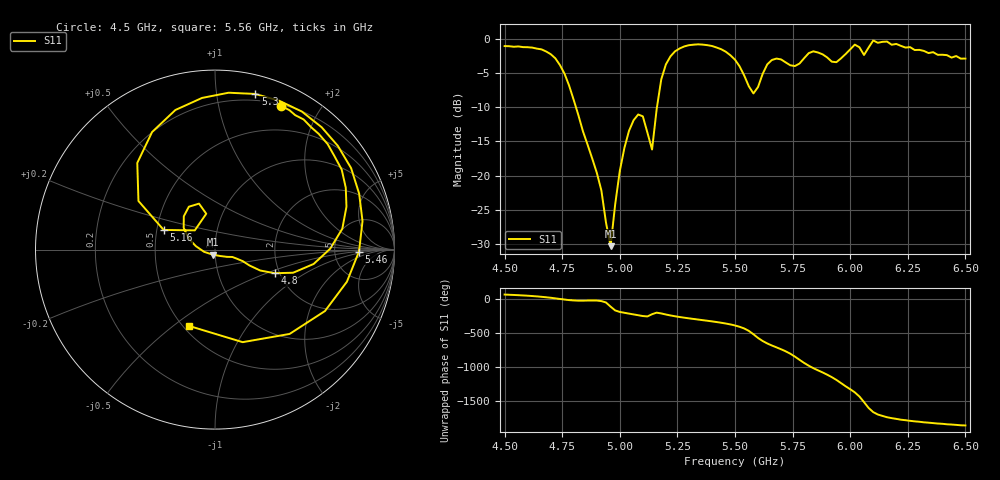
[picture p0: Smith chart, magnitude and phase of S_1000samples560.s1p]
! TOUCHSTONE file generated by CST MICROWAVE STUDIO
! Date and time: Fri Oct 28 14:39:35 2022
! Project name: L.cst
! Parameters = {Di=1.27; Epsilon_r=1.56; InnerDiameter=1.27; Length=2; Lf=10; Lg=60; OuterConductorThickness=0.2921; OuterDiameter=3.6; Wf=3; Wp=41.2; de=1.5; df=6.8; g=0.8; gx=4.50755; gy=0.574125; h=2.34; hf=1.524; px=12.2241; py=13.9523; w=9.7; wx=7.71658; wy=13.3782}
! Header version: 2018
! Port assignment regex: !\s*Touchstone port\s*([0-9]+)\s*=\s*(CST MWS port|CST DS port)\s*([0-9]+|Zmin|Zmax)\s*\(\"(.*)\"\)(\s*mode\s*([0-9]+))?.*
! Touchstone port assignment:
! Touchstone port 1 = CST MWS port 1 ("")
# GHz S DB R 50
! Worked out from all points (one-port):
!   101 points, 4.5 GHz to 6.5 GHz, reference 50 ohm
!   lowest |S11| = -30.3 dB at 4.96 GHz (marker M1), VSWR 1.06, Z = 48.8 - j2.77 ohm
!   |S11| at or under -10 dB: 4.81 GHz to 5.161 GHz (351.7 MHz wide, 7.05 % of centre)
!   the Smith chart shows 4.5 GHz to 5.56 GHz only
!   S11 on the Smith chart (normalised r, x): 4.5 GHz: 0.21, +1.54; 4.8 GHz: 1.88, -0.57; 5.16 GHz: 0.54, +0.13; 5.3 GHz: 0.15, +1.28; 5.46 GHz: 9.09, -0.54; 5.56 GHz: 0.54, -0.57
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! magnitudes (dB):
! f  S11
! 4.5 GHz  -1.1
! 4.68 GHz  -1.9
! 4.76 GHz  -5.1
! 4.8 GHz  -8.9
! 4.92 GHz  -22.1
! 4.96 GHz  -30.3
! 5 GHz  -19.3
! 5.04 GHz  -13.4
! 5.08 GHz  -11.1
! 5.1 GHz  -11.3
! 5.14 GHz  -16.2
! 5.16 GHz  -10.3
! 5.2 GHz  -3.8
! 5.26 GHz  -1.4
! 5.3 GHz  -1.0
! 5.46 GHz  -1.9
! 5.5 GHz  -3.1
! 5.56 GHz  -7.0
! 5.58 GHz  -8.0
! 5.66 GHz  -3.1
! 5.76 GHz  -4.0
! 5.84 GHz  -1.9
! 5.94 GHz  -3.4
! 6 GHz  -1.6
! 6.06 GHz  -2.4
! 6.1 GHz  -0.3
! 6.26 GHz  -1.2
! 6.5 GHz  -2.9
